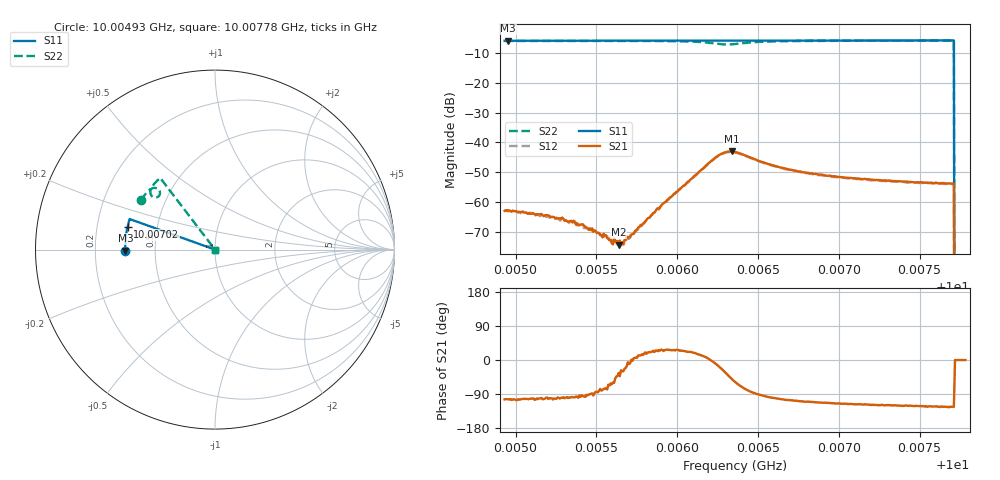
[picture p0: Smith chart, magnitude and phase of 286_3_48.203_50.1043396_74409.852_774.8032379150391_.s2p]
#  HZ  S  RI  R  50.00
! Rohde & Schwarz Vector Network Analyzer
! Rohde-Schwarz,ZNB20-2Port,1311601062101988,3.16
! Created: UTC 3/20/2024, 11:48:53 AM
! freq[Hz]  re:S11  im:S11  re:S21  im:S21  re:S12  im:S12  re:S22  im:S22
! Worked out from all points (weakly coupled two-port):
!   401 points, 10.00493 GHz to 10.00778 GHz, reference 50 ohm
!   highest |S21| = -43.01 dB at 10.00634 GHz (marker M1); lowest = -74.1 dB at 10.00564 GHz (marker M2)
!   lowest |S11| = -6.0 dB at 10.00495 GHz (marker M3), VSWR 3.00, Z = 16.7 - j0.228 ohm
!   |S11| at or under -10 dB: 10.00771 GHz to end of sweep
!   |S22| runs from - to -6.0 dB; largest |S21 - S12| = 0.00042
!   S11 on the Smith chart (normalised r, x): 10.00493 GHz: 0.33, -0.01; 10.00702 GHz: 0.33, +0.11; 10.00778 GHz: 1.00, +0.00
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1.0004932e10  -0.4994 -0.00653  -0.000173 -0.000702  -0.000116 -0.000723  -0.4117 0.2741
1.0004953e10  -0.4994 -0.00512  -0.000173 -0.00072  -0.000119 -0.000693  -0.4107 0.2752
1.0005231e10  -0.5 0.0129  -0.000143 -0.000555  -9.54e-05 -0.000553  -0.4003 0.2917
1.000541e10  -0.4998 0.0245  -2.27e-05 -0.000427  -3e-05 -0.00039  -0.3928 0.3024
1.0005559e10  -0.4996 0.0342  7.75e-05 -0.00027  8.21e-05 -0.00026  -0.3858 0.3114
1.0005588e10  -0.4994 0.036  0.000114 -0.000213  8.81e-05 -0.000218  -0.3843 0.3132
1.0005638e10  -0.4994 0.0394  0.000163 -0.00011  0.000156 -0.000132  -0.3818 0.3163
1.0005652e10  -0.4993 0.0401  0.000182 -9.31e-05  0.000182 -0.000105  -0.3811 0.3171
1.0005673e10  -0.4992 0.0415  0.000216 -9.38e-05  0.000186 -9.11e-05  -0.3798 0.3186
1.0005716e10  -0.4992 0.0444  0.000289 3.19e-06  0.000272 -1.66e-05  -0.3773 0.3213
1.0005887e10  -0.4983 0.0555  0.000704 0.00035  0.000674 0.000342  -0.3653 0.3324
1.000623e10  -0.4957 0.0774  0.00536 -0.000676  0.00524 -0.00037  -0.3098 0.3291
1.0006287e10  -0.4949 0.0808  0.0059 -0.00314  0.00591 -0.00287  -0.3082 0.3066
1.0006336e10  -0.4946 0.0838  0.00461 -0.00536  0.00475 -0.00502  -0.3232 0.2915
1.0006358e10  -0.4945 0.0851  0.00369 -0.00583  0.0039 -0.00556  -0.3319 0.2897
1.0006622e10  -0.4923 0.1021  -0.000809 -0.00386  -0.000632 -0.00385  -0.359 0.3316
1.0006836e10  -0.4897 0.1156  -0.00107 -0.00285  -0.000939 -0.00284  -0.3495 0.3516
1.0007021e10  -0.4875 0.1273  -0.00114 -0.00236  -0.001 -0.00238  -0.3402 0.3641
1.0007313e10  -0.4829 0.1455  -0.00113 -0.00203  -0.00104 -0.00202  -0.3257 0.3804
1.0007698e10  -0.476 0.1694  -0.00114 -0.00171  -0.00103 -0.00174  -0.3062 0.3988
1.0007734e10  0 0  0 0  0 0  0 0
1.0007784e10  0 0  0 0  0 0  0 0
